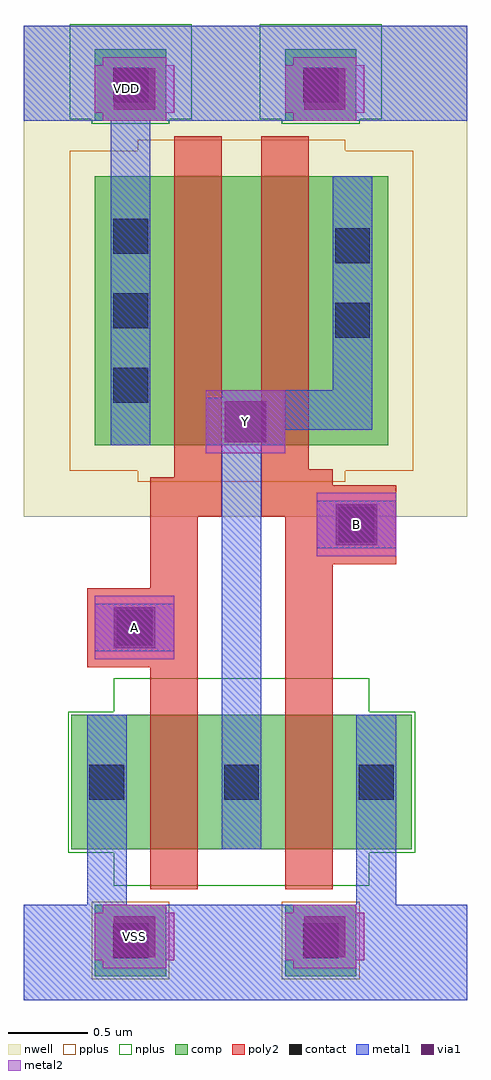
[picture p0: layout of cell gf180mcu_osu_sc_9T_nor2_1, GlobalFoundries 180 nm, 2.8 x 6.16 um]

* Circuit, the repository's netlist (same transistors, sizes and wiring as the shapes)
* Copyright 2022 Google LLC
*
* Licensed under the Apache License, Version 2.0 (the "License");
* you may not use this file except in compliance with the License.
* You may obtain a copy of the License at
*
*      http://www.apache.org/licenses/LICENSE-2.0
*
* Unless required by applicable law or agreed to in writing, software
* distributed under the License is distributed on an "AS IS" BASIS,
* WITHOUT WARRANTIES OR CONDITIONS OF ANY KIND, either express or implied.
* See the License for the specific language governing permissions and
* limitations under the License.

.option scale=0.05u

.subckt gf180mcu_osu_sc_9T_nor2_1 A Y B
X0 Y B a_25_70 VDD pmos_3p3 w=34 l=6
X1 Y A VSS VSS nmos_3p3 w=17 l=6
X2 a_25_70 A VDD VDD pmos_3p3 w=34 l=6
X3 VSS B Y VSS nmos_3p3 w=17 l=6
.ends

** hspice subcircuit dictionary

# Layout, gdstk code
import gdstk
lib = gdstk.Library(unit=1e-6, precision=1e-09)
def R(c, l, rs):  # rectangles x0, y0, x1, y1
    for r in rs: c.add(gdstk.rectangle(r[:2], r[2:], *l))
def A(c, l, x, y, w, h, nx, ny, dx, dy):  # array of equal rectangles
    R(c, l, [(x+i*dx, y+j*dy, x+i*dx+w, y+j*dy+h) for i in range(nx) for j in range(ny)])
nwell = (21, 0)
comp = (22, 0)
poly2 = (30, 0)
pplus = (31, 0)
nplus = (32, 0)
contact = (33, 0)
metal1 = (34, 0)
via1 = (35, 0)
metal2 = (36, 0)

gf180mcu_osu_sc_9t_nor2_ = lib.new_cell('gf180mcu_osu_sc_9T_nor2_1')
R(gf180mcu_osu_sc_9t_nor2_, nwell, [(0,3.05,2.8,6.15)])
R(gf180mcu_osu_sc_9t_nor2_, comp, [(0.45,0.15,0.9,0.6), (1.65,0.15,2.1,0.6), (0.3,0.95,2.45,1.8), (0.45,3.5,2.3,5.2), (0.45,5.55,0.9,6), (1.65,5.55,2.1,6)])
R(gf180mcu_osu_sc_9t_nor2_, poly2, [(0.8,0.7,1.1,2.1), (1.65,0.7,1.95,2.75), (0.4,2.1,1.1,2.6), (0.8,2.6,1.1,3.05), (1.65,2.75,2.35,3.05), (0.8,3.05,1.25,3.3), (1.5,3.05,2.35,3.25), (1.5,3.25,1.95,3.35), (0.95,3.3,1.25,5.45), (1.5,3.35,1.8,5.45)])
R(gf180mcu_osu_sc_9t_nor2_, pplus, [(0.43,0.13,0.92,0.62), (1.63,0.13,2.12,0.62), (0.72,3.27,2.03,3.34), (0.29,3.34,2.46,5.36), (0.72,5.36,2.03,5.43)])
R(gf180mcu_osu_sc_9t_nor2_, nplus, [(0.57,0.72,2.18,0.93), (0.28,0.93,2.47,1.82), (0.57,1.82,2.18,2.03), (0.43,5.53,0.92,5.56), (1.63,5.53,2.12,5.56), (0.29,5.56,1.06,6.16), (1.49,5.56,2.26,6.16)])
A(gf180mcu_osu_sc_9t_nor2_, contact, 0.415, 1.265, 0.22, 0.22, 3, 1, 0.85, 0)
A(gf180mcu_osu_sc_9t_nor2_, contact, 0.565, 3.77, 0.22, 0.22, 1, 3, 0, 0.47)
R(gf180mcu_osu_sc_9t_nor2_, contact, [(0.565,0.265,0.785,0.485), (1.765,0.265,1.985,0.485), (0.59,2.24,0.81,2.46), (1.99,2.89,2.21,3.11), (1.965,4.18,2.185,4.4), (1.965,4.65,2.185,4.87), (0.565,5.665,0.785,5.885), (1.765,5.665,1.985,5.885)])
R(gf180mcu_osu_sc_9t_nor2_, metal1, [(0,0,2.8,0.6), (0.4,0.6,0.65,1.8), (2.1,0.6,2.35,1.8), (1.25,0.95,1.5,3.5), (0.45,2.2,0.95,2.5), (1.85,2.85,2.35,3.15), (0.55,3.5,0.8,5.55), (1.15,3.5,1.65,3.6), (1.15,3.6,2.2,3.8), (1.25,3.8,2.2,3.85), (1.95,3.85,2.2,5.2), (0,5.55,2.8,6.15)])
R(gf180mcu_osu_sc_9t_nor2_, via1, [(0.57,0.27,0.83,0.53), (1.77,0.27,2.03,0.53), (0.57,2.22,0.83,2.48), (1.97,2.87,2.23,3.13), (1.27,3.52,1.53,3.78), (0.57,5.62,0.83,5.88), (1.77,5.62,2.03,5.88)])
R(gf180mcu_osu_sc_9t_nor2_, metal2, [(0.5,0.2,0.9,0.25), (1.7,0.2,2.1,0.25), (0.45,0.25,0.95,0.55), (1.65,0.25,2.15,0.55), (0.5,0.55,0.9,0.6), (1.7,0.55,2.1,0.6), (0.45,2.15,0.95,2.55), (1.85,2.8,2.35,3.2), (1.15,3.45,1.65,3.85), (0.5,5.55,0.9,5.6), (1.7,5.55,2.1,5.6), (0.45,5.6,0.95,5.9), (1.65,5.6,2.15,5.9), (0.5,5.9,0.9,5.95), (1.7,5.9,2.1,5.95)])
gf180mcu_osu_sc_9t_nor2_.add(gdstk.Label('VDD', (0.65,5.75), layer=36, texttype=0))
gf180mcu_osu_sc_9t_nor2_.add(gdstk.Label('VSS', (0.7,0.4), layer=36, texttype=0))
gf180mcu_osu_sc_9t_nor2_.add(gdstk.Label('A', (0.7,2.35), layer=36, texttype=10))
gf180mcu_osu_sc_9t_nor2_.add(gdstk.Label('Y', (1.4,3.65), layer=36, texttype=10))
gf180mcu_osu_sc_9t_nor2_.add(gdstk.Label('B', (2.1,3), layer=36, texttype=10))

lib.write_gds('gf180mcu_osu_sc_9T_nor2_1.gds')
